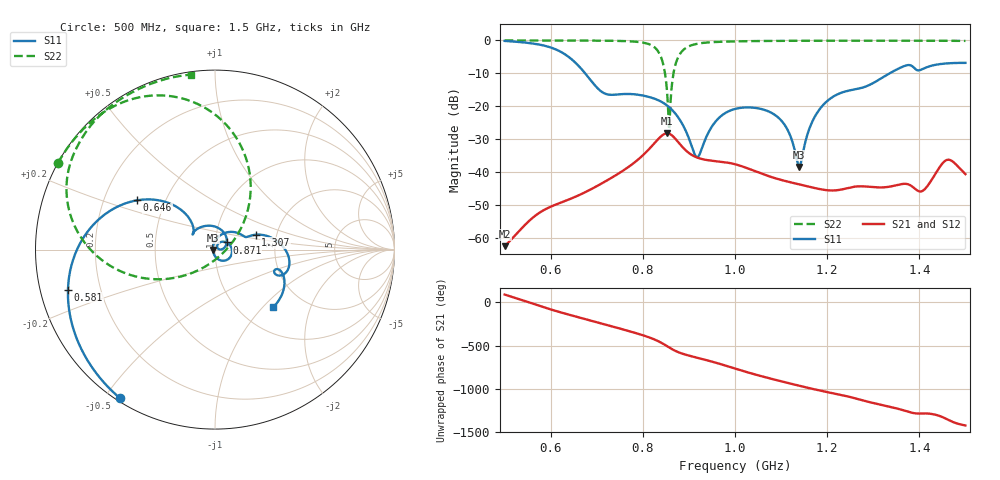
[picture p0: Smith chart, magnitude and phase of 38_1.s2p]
! TOUCHSTONE file generated by CST MICROWAVE STUDIO
! Date and time: Mon Oct 26 12:10:10 2020
! Project name: Scenario_1_Circular_Tissue_out_of_Line_v2.cst
! Parameters = {dy1=294.1; L_HA=400; MT=2.54; Rad_Dielectric=30; Rad_Lower=7.3; Rad_Upper=30; a_HA=580; a_WG=246; b_HA=500; b_WG=121; c_HA=0; c_WG=187; d_feed=85; dx1=173; h_feed=15; h_lower=18; h_upper=40}
! Header version: 2018
! Port assignment regex: !\s*Touchstone port\s*([0-9]+)\s*=\s*(CST MWS port|CST DS port)\s*([0-9]+|Zmin|Zmax)\s*\(\"(.*)\"\)(\s*mode\s*([0-9]+))?.*
! Touchstone port assignment:
! Touchstone port 1 = CST MWS port 1 ("")
! Touchstone port 2 = CST MWS port 2 ("")
# GHz S DB R 50
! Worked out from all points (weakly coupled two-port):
!   1003 points, 500 MHz to 1.5 GHz, reference 50 ohm
!   highest |S21| = -28.22 dB at 853 MHz (marker M1); lowest = -62.5 dB at 500 MHz (marker M2)
!   lowest |S11| = -38.4 dB at 1.139 GHz (marker M3), VSWR 1.02, Z = 48.8 - j0.156 ohm
!   |S11| at or under -10 dB: 674.8 MHz to 1.335 GHz (660.7 MHz wide, 65.7 % of centre)
!   |S22| runs from -27.1 to 0.0 dB; largest |S21 - S12| = 6.6e-05
!   S11 on the Smith chart (normalised r, x): 500 MHz: 0.01, -0.55; 581 MHz: 0.08, -0.13; 646 MHz: 0.35, +0.26; 871 MHz: 1.14, +0.09; 1.307 GHz: 1.55, +0.27; 1.5 GHz: 1.41, -1.15
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0.5  -0.15 -122.5  -62.51 90.4  -62.51 90.4  -0.01 151.1
0.581  -1.42 -164.8  -51.88 -49.6  -51.88 -49.6  -0.02 145.5
0.646  -5.79 147.7  -47.95 -151.9  -47.95 -151.9  -0.03 140.3
0.667  -8.72 134.9  -46.65 177.9  -46.65 177.9  -0.04 138.4
0.716  -16.04 138.8  -43.04 107.2  -43.04 107.2  -0.08 132.8
0.779  -16.33 132.7  -37.40 13.3  -37.40 13.3  -0.33 120.4
0.834  -18.20 82.7  -29.87 -91.0  -29.87 -91.0  -3.52 82.1
0.846  -19.11 67.0  -28.48 -125.8  -28.48 -125.8  -8.37 58.6
0.853  -19.80 57.2  -28.22 -148.5  -28.23 -148.5  -16.43 33.7
0.859  -20.51 48.5  -28.46 -167.9  -28.46 -167.9  -21.63 -110.0
0.871  -22.31 31.1  -29.95 157.5  -29.95 157.5  -7.22 -158.8
0.918  -35.52 32.7  -35.59 79.1  -35.59 79.1  -1.01 158.4
1  -20.82 7.5  -37.62 -45.8  -37.62 -45.8  -0.29 140.1
1.093  -23.32 -61.9  -42.11 176.2  -42.11 176.2  -0.13 130.3
1.139  -38.42 -172.3  -43.73 115.4  -43.73 115.4  -0.11 126.4
1.167  -24.89 84.3  -44.66 79.9  -44.66 79.9  -0.10 124.2
1.212  -17.18 45.5  -45.59 28.8  -45.59 28.8  -0.09 120.7
1.307  -12.38 20.1  -44.66 -93.8  -44.66 -93.8  -0.08 113.5
1.334  -10.12 13.2  -44.47 -126.2  -44.47 -126.2  -0.08 111.5
1.407  -8.70 -17.3  -45.72 154.0  -45.72 154.0  -0.09 105.7
1.461  -6.97 -33.5  -36.27 84.7  -36.23 84.8  -0.12 101.2
1.5  -6.82 -44.8  -40.62 15.2  -40.62 15.2  -0.14 97.9
